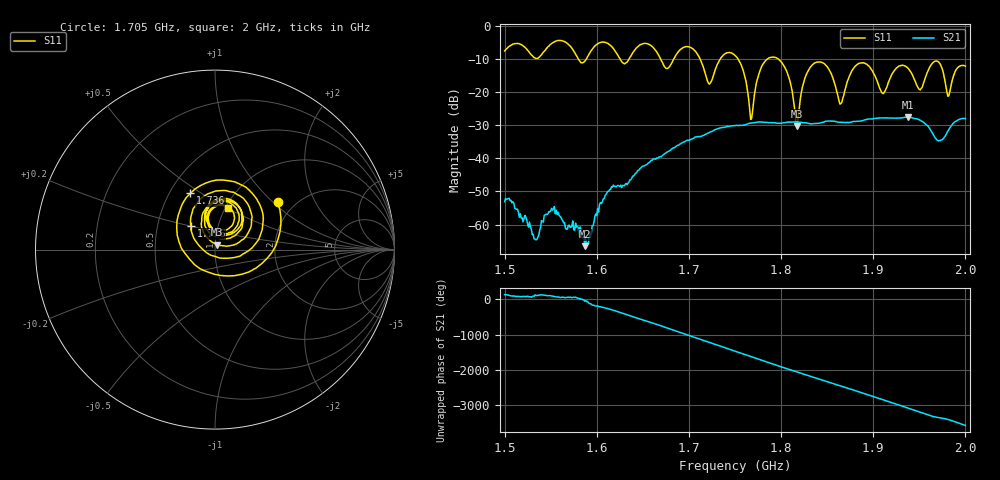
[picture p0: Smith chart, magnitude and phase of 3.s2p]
! NanoVNA-App by SYSJOINT et al v1.1.209 (+OD18)
! Date: 2026-01-21 14:40:43
! Start: 1,5GHz Stop: 2GHz Points: 501
! S-Parameter data: F S11 S21 S12 S22
# Hz S RI R 50
!  Frequency  S11_Real  S11_Imag  S21_Real  S21_Imag  S12_Real  S12_Imag  S22_Real  S22_Imag
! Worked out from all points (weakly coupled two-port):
!   501 points, 1.5 GHz to 2 GHz, reference 50 ohm
!   highest |S21| = -27.60 dB at 1.938 GHz (marker M1); lowest = -66.5 dB at 1.587 GHz (marker M2)
!   lowest |S11| = -30.4 dB at 1.817 GHz (marker M3), VSWR 1.06, Z = 51.1 + j2.85 ohm
!   |S11| at or under -10 dB: 1.712 GHz to 1.734 GHz (22.13 MHz wide, 1.28 % of centre); 1.753 GHz to 1.786 GHz (32.46 MHz wide, 1.83 % of centre); 1.797 GHz to end of sweep (the widest 3 of 6)
!   S12 and S22 are empty: the file has one direction only
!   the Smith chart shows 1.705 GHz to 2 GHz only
!   S11 on the Smith chart (normalised r, x): 1.705 GHz: 1.64, +1.07; 1.736 GHz: 0.63, +0.45; 1.776 GHz: 0.74, +0.20; 2 GHz: 1.02, +0.51
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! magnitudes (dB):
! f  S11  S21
! 1.5 GHz  -7.6  -53.1
! 1.534 GHz  -9.9  -64.6
! 1.552 GHz  -5.2  -55.7
! 1.584 GHz  -11.2  -64.0
! 1.587 GHz  -10.7  -66.5
! 1.667 GHz  -8.9  -39.7
! 1.705 GHz  -7.2  -34.0
! 1.722 GHz  -17.7  -32.2
! 1.736 GHz  -9.3  -30.8
! 1.75 GHz  -9.0  -30.1
! 1.767 GHz  -28.3  -29.4
! 1.776 GHz  -14.5  -29.0
! 1.8 GHz  -10.9  -29.5
! 1.817 GHz  -30.4  -29.1
! 1.834 GHz  -11.8  -29.6
! 1.864 GHz  -23.7  -29.1
! 1.885 GHz  -11.3  -28.8
! 1.917 GHz  -16.8  -27.9
! 1.938 GHz  -12.9  -27.6
! 1.97 GHz  -10.8  -34.6
! 1.982 GHz  -21.2  -31.4
! 2 GHz  -12.2  -28.0
